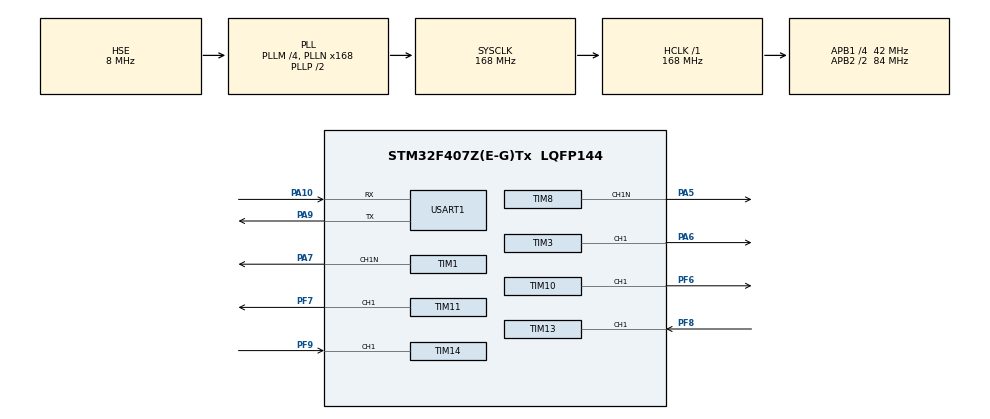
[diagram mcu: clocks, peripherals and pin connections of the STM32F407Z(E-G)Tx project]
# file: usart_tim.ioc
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Mcu.Family=STM32F4
Mcu.Name=STM32F407Z(E-G)Tx
Mcu.Package=LQFP144
NVIC.PriorityGroup=NVIC_PRIORITYGROUP_4
NVIC.TIM1_UP_TIM10_IRQn=true\:0\:0\:false\:false\:true\:true
NVIC.TIM2_IRQn=true\:0\:0\:false\:false\:true\:true
NVIC.TIM3_IRQn=true\:0\:0\:false\:false\:true\:true
NVIC.TIM8_TRG_COM_TIM14_IRQn=true\:0\:0\:false\:false\:true\:true
NVIC.TIM8_UP_TIM13_IRQn=true\:0\:0\:false\:false\:true\:true
NVIC.USART1_IRQn=true\:0\:0\:false\:false\:true\:true
PA10.Mode=Asynchronous
PA10.Signal=USART1_RX
PA5.GPIO_PuPd=GPIO_PULLUP
PA5.GPIO_Speed=GPIO_SPEED_FREQ_HIGH
PA5.Mode=PWM Generation1 CH1N
PA5.Signal=TIM8_CH1N
PA6.GPIO_PuPd=GPIO_PULLUP
PA6.Signal=S_TIM3_CH1
PA7.Mode=PWM Generation1 CH1N
PA7.Signal=TIM1_CH1N
PA9.Mode=Asynchronous
PA9.Signal=USART1_TX
PF6.GPIO_PuPd=GPIO_PULLUP
PF6.GPIO_Speed=GPIO_SPEED_FREQ_HIGH
PF6.Signal=S_TIM10_CH1
PF7.GPIO_PuPd=GPIO_PULLUP
PF7.GPIO_Speed=GPIO_SPEED_FREQ_HIGH
PF7.Signal=S_TIM11_CH1
PF8.GPIO_PuPd=GPIO_PULLUP
PF8.GPIO_Speed=GPIO_SPEED_FREQ_HIGH
PF8.Signal=S_TIM13_CH1
PF9.GPIO_PuPd=GPIO_PULLUP
PF9.GPIO_Speed=GPIO_SPEED_FREQ_HIGH
PF9.Signal=S_TIM14_CH1
PH0-OSC_IN.Mode=HSE-External-Oscillator
PH0-OSC_IN.Signal=RCC_OSC_IN
PH1-OSC_OUT.Mode=HSE-External-Oscillator
PH1-OSC_OUT.Signal=RCC_OSC_OUT
ProjectManager.HeapSize=0x200
ProjectManager.StackSize=0x400
ProjectManager.TargetToolchain=MDK-ARM V5
RCC.48MHZClocksFreq_Value=84000000
RCC.AHBFreq_Value=168000000
RCC.APB1CLKDivider=RCC_HCLK_DIV4
RCC.APB1Freq_Value=42000000
RCC.APB1TimFreq_Value=84000000
RCC.APB2CLKDivider=RCC_HCLK_DIV2
RCC.APB2Freq_Value=84000000
RCC.APB2TimFreq_Value=168000000
RCC.CortexFreq_Value=168000000
RCC.HCLKFreq_Value=168000000
RCC.HSE_VALUE=8000000
RCC.HSI_VALUE=16000000
RCC.LSE_VALUE=32768
RCC.PLLM=4
RCC.PLLN=168
RCC.PLLSourceVirtual=RCC_PLLSOURCE_HSE
RCC.SYSCLKFreq_VALUE=168000000
RCC.SYSCLKSource=RCC_SYSCLKSOURCE_PLLCLK
RCC.VCOOutputFreq_Value=336000000
SH.S_TIM10_CH1.0=TIM10_CH1,PWM Generation1 CH1
SH.S_TIM11_CH1.0=TIM11_CH1,PWM Generation1 CH1
SH.S_TIM13_CH1.0=TIM13_CH1,Input_Capture1_from_TI1
SH.S_TIM14_CH1.0=TIM14_CH1,Input_Capture1_from_TI1
SH.S_TIM3_CH1.0=TIM3_CH1,PWM Generation1 CH1
TIM1.Channel-PWM\ Generation1\ CH1N=TIM_CHANNEL_1
TIM1.Period=2000-1
TIM1.Prescaler=83
TIM10.Channel=TIM_CHANNEL_1
TIM10.Period=2000-1
TIM10.Prescaler=84-1
TIM11.Channel=TIM_CHANNEL_1
TIM11.Period=2000-1
TIM11.Prescaler=83
TIM13.Channel=TIM_CHANNEL_1
TIM13.ICPolarity_CH1=TIM_INPUTCHANNELPOLARITY_RISING
TIM13.Period=0xFFFF
TIM13.Prescaler=83
TIM14.Channel=TIM_CHANNEL_1
TIM14.ICPolarity_CH1=TIM_INPUTCHANNELPOLARITY_RISING
TIM14.Period=0x0FFFF
TIM14.Prescaler=83
TIM2.Period=0xFFFFFFFF
TIM2.Prescaler=84-1
TIM3.Channel-PWM\ Generation1\ CH1=TIM_CHANNEL_1
TIM3.Period=10000-1
TIM3.Prescaler=83
TIM8.Channel-PWM\ Generation1\ CH1N=TIM_CHANNEL_1
TIM8.Period=2000-1
TIM8.Prescaler=83
USART1.VirtualMode=VM_ASYNC
VP_TIM10_VS_ClockSourceINT.Mode=Enable_Timer
VP_TIM11_VS_ClockSourceINT.Mode=Enable_Timer
VP_TIM13_VS_ClockSourceINT.Mode=Enable_Timer
VP_TIM14_VS_ClockSourceINT.Mode=Enable_Timer
VP_TIM1_VS_ClockSourceINT.Mode=Internal
VP_TIM2_VS_ClockSourceINT.Mode=Internal
VP_TIM3_VS_ClockSourceINT.Mode=Internal
VP_TIM8_VS_ClockSourceINT.Mode=Internal
board=custom

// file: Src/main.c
/**
  ******************************************************************************
  * @file           : main.c
  * @brief          : Main program body
  ******************************************************************************
  ** This notice applies to any and all portions of this file
  * that are not between comment pairs USER CODE BEGIN and
  * USER CODE END. Other portions of this file, whether
  * inserted by the user or by software development tools
  * are owned by their respective copyright owners.
  *
  * COPYRIGHT(c) 2018 STMicroelectronics
  *
  * Redistribution and use in source and binary forms, with or without modification,
  * are permitted provided that the following conditions are met:
  *   1. Redistributions of source code must retain the above copyright notice,
  *      this list of conditions and the following disclaimer.
  *   2. Redistributions in binary form must reproduce the above copyright notice,
  *      this list of conditions and the following disclaimer in the documentation
  *      and/or other materials provided with the distribution.
  *   3. Neither the name of STMicroelectronics nor the names of its contributors
  *      may be used to endorse or promote products derived from this software
  *      without specific prior written permission.
  *
  * THIS SOFTWARE IS PROVIDED BY THE COPYRIGHT HOLDERS AND CONTRIBUTORS "AS IS"
  * AND ANY EXPRESS OR IMPLIED WARRANTIES, INCLUDING, BUT NOT LIMITED TO, THE
  * IMPLIED WARRANTIES OF MERCHANTABILITY AND FITNESS FOR A PARTICULAR PURPOSE ARE
  * DISCLAIMED. IN NO EVENT SHALL THE COPYRIGHT HOLDER OR CONTRIBUTORS BE LIABLE
  * FOR ANY DIRECT, INDIRECT, INCIDENTAL, SPECIAL, EXEMPLARY, OR CONSEQUENTIAL
  * DAMAGES (INCLUDING, BUT NOT LIMITED TO, PROCUREMENT OF SUBSTITUTE GOODS OR
  * SERVICES; LOSS OF USE, DATA, OR PROFITS; OR BUSINESS INTERRUPTION) HOWEVER
  * CAUSED AND ON ANY THEORY OF LIABILITY, WHETHER IN CONTRACT, STRICT LIABILITY,
  * OR TORT (INCLUDING NEGLIGENCE OR OTHERWISE) ARISING IN ANY WAY OUT OF THE USE
  * OF THIS SOFTWARE, EVEN IF ADVISED OF THE POSSIBILITY OF SUCH DAMAGE.
  *
  ******************************************************************************
  */
#include "main.h"
#include "stm32f4xx_hal.h"
#include "tim.h"
#include "usart.h"
#include "gpio.h"

/* USER CODE BEGIN PV */
/* Private variables ---------------------------------------------------------*/
uint8_t ReceiveBuff[1];
uint8_t TxBuff[4]="casd";
int i=0;
extern float Freq_CaptureL;
extern float Freq_CaptureR;
extern float PWM_Duty;
/* USER CODE END PV */

void SystemClock_Config(void);

/* USER CODE BEGIN PFP */
/* Private function prototypes -----------------------------------------------*/

/* USER CODE END PFP */

int main(void)
{

  /* MCU Configuration----------------------------------------------------------*/

  /* Reset of all peripherals, Initializes the Flash interface and the Systick. */
  HAL_Init();

  /* Configure the system clock */
  SystemClock_Config();

  /* Initialize all configured peripherals */
  MX_GPIO_Init();
  MX_USART1_UART_Init();
  MX_TIM1_Init();
  MX_TIM3_Init();
  MX_TIM13_Init();
  MX_TIM14_Init();
  MX_TIM8_Init();
  MX_TIM10_Init();
  MX_TIM11_Init();
  MX_TIM2_Init();
  /* USER CODE BEGIN 2 */
	HAL_UART_Transmit(&huart1,TxBuff,4,10);
	HAL_UART_Receive_IT(&huart1,ReceiveBuff,1);
	HAL_TIM_Base_Start_IT(&htim1);

	HAL_TIM_IC_Start_IT(&htim13,TIM_CHANNEL_1);
	HAL_TIM_IC_Start_IT(&htim14,TIM_CHANNEL_1);
	HAL_TIM_IC_Start_IT(&htim2,TIM_CHANNEL_1);

	//HAL_TIM_IC_Start_IT(&htim2,TIM_CHANNEL_1);
	//HAL_TIM_PWM_Start(&htim3,TIM_CHANNEL_1);

	HAL_TIM_PWM_Start(&htim10,TIM_CHANNEL_1);
	HAL_TIM_PWM_Start(&htim3,TIM_CHANNEL_1);
	HAL_TIM_PWM_Start(&htim11,TIM_CHANNEL_1);
	HAL_TIMEx_PWMN_Start(&htim1,TIM_CHANNEL_1);
	HAL_TIMEx_PWMN_Start(&htim8,TIM_CHANNEL_1);

	HAL_TIM_Base_Start_IT(&htim3);

	__HAL_TIM_SetCompare(&htim3,TIM_CHANNEL_1,500-1);
	__HAL_TIM_SetCompare(&htim1,TIM_CHANNEL_1,1999);
  //HAL_TIM_IC_Start_IT(&htim2,TIM_CHANNEL_2);
  /* USER CODE END 2 */

  /* Infinite loop */
  while (1)
  {

  /* USER CODE BEGIN 3 */

		//HAL_Delay(400);
  }
  /* USER CODE END 3 */

}

void SystemClock_Config(void)
{

  RCC_OscInitTypeDef RCC_OscInitStruct;
  RCC_ClkInitTypeDef RCC_ClkInitStruct;

    /**Configure the main internal regulator output voltage
    */
  __HAL_RCC_PWR_CLK_ENABLE();

  __HAL_PWR_VOLTAGESCALING_CONFIG(PWR_REGULATOR_VOLTAGE_SCALE1);

    /**Initializes the CPU, AHB and APB busses clocks
    */
  RCC_OscInitStruct.OscillatorType = RCC_OSCILLATORTYPE_HSE;
  RCC_OscInitStruct.HSEState = RCC_HSE_ON;
  RCC_OscInitStruct.PLL.PLLState = RCC_PLL_ON;
  RCC_OscInitStruct.PLL.PLLSource = RCC_PLLSOURCE_HSE;
  RCC_OscInitStruct.PLL.PLLM = 4;
  RCC_OscInitStruct.PLL.PLLN = 168;
  RCC_OscInitStruct.PLL.PLLP = RCC_PLLP_DIV2;
  RCC_OscInitStruct.PLL.PLLQ = 4;
  if (HAL_RCC_OscConfig(&RCC_OscInitStruct) != HAL_OK)
  {
    _Error_Handler(__FILE__, __LINE__);
  }

    /**Initializes the CPU, AHB and APB busses clocks
    */
  RCC_ClkInitStruct.ClockType = RCC_CLOCKTYPE_HCLK|RCC_CLOCKTYPE_SYSCLK
                              |RCC_CLOCKTYPE_PCLK1|RCC_CLOCKTYPE_PCLK2;
  RCC_ClkInitStruct.SYSCLKSource = RCC_SYSCLKSOURCE_PLLCLK;
  RCC_ClkInitStruct.AHBCLKDivider = RCC_SYSCLK_DIV1;
  RCC_ClkInitStruct.APB1CLKDivider = RCC_HCLK_DIV4;
  RCC_ClkInitStruct.APB2CLKDivider = RCC_HCLK_DIV2;

  if (HAL_RCC_ClockConfig(&RCC_ClkInitStruct, FLASH_LATENCY_5) != HAL_OK)
  {
    _Error_Handler(__FILE__, __LINE__);
  }

    /**Configure the Systick interrupt time
    */
  HAL_SYSTICK_Config(HAL_RCC_GetHCLKFreq()/1000);

    /**Configure the Systick
    */
  HAL_SYSTICK_CLKSourceConfig(SYSTICK_CLKSOURCE_HCLK);

  /* SysTick_IRQn interrupt configuration */
  HAL_NVIC_SetPriority(SysTick_IRQn, 0, 0);
}

/* USER CODE BEGIN 4 */
void HAL_UART_RxCpltCallback(UART_HandleTypeDef *huart)
{
	if(huart->Instance==USART1)
		HAL_UART_Transmit(&huart1,"uart1\n",6,10);
		//printf("uart");
}
void HAL_TIM_PeriodElapsedCallback(TIM_HandleTypeDef *htim)
{
	if(htim->Instance == TIM1)
	{
		if(i>=20)
			i=0;
		i++;
		HAL_UART_Transmit(&huart1,"tim1\n",6,10);
		__HAL_TIM_SetCompare(&htim3,TIM_CHANNEL_1,i*100);
	  //printf("PWM_Freq is %.4f\n",Freq_Capture);
		printf("PWM_Duty is %.4f\n",PWM_Duty);
	}
}

/* USER CODE END 4 */

void _Error_Handler(char *file, int line)
{
  while(1)
  {
  }
}

/************************ (C) COPYRIGHT STMicroelectronics *****END OF FILE****/
